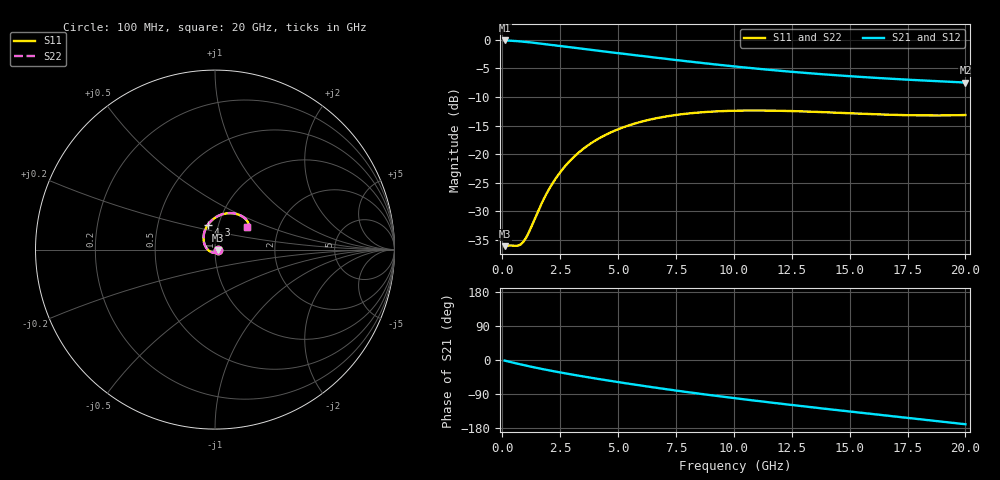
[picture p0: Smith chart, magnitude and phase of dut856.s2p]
! Touchstone file exported from HFSS 2024.1.0
!  File:  C:/UserFiles/LocalFiles/RDL_TSV_Batchsim/temp_RDL_TSV_856_1779923955.aedt
!  Generated:  07:33:23 AM May 28, 2026
!  Design:  RDL_TSV
!  Project:  temp_RDL_TSV_856_1779923955
!  Setup:  Setup1
!  Solution:  Sweep
! Variables:
!  dtsv = 11.52um
!  hbump = 3um
!  htsv = 68um
!  ldown = 630.8um
!  lrdl = 113.82um
!  p = 40
!  p1 = 42.85um
!  rhole = 10um
!  subl = 2347.68um
!  t = 450um
!  tdown = 2.49um
!  trdl = 2.42um
!  viad = 10um
!  wdown = 25.29um
!  wrdl = 14.63um
!  xbump = 18um
# GHz S MA R 50.000000
! Terminal data exported
! Port[1] = TM1_1_T1
! Port[2] = TM1_4_T1
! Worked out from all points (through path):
!   200 points, 100 MHz to 20 GHz, reference 50 ohm
!   highest |S21| = -0.14 dB at 100 MHz (marker M1); lowest = -7.5 dB at 20 GHz (marker M2)
!   group delay of S21, straight-line fit = 22.3 ps
!   lowest |S11| = -36.1 dB at 100 MHz (marker M3), VSWR 1.03, Z = 51.6 - j0.206 ohm
!   |S11| at or under -10 dB: start of sweep to end of sweep
!   |S22| runs from -36.1 to -12.3 dB; largest |S21 - S12| = 1.1e-14
!   S11 on the Smith chart (normalised r, x): 100 MHz: 1.03, -0.00; 4.3 GHz: 0.89, +0.25; 20 GHz: 1.38, +0.37
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0.1  0.01571 -7.3  0.9838 -1.5  0.9838 -1.5  0.01571 -7.3
! Gamma 0 0 0 0
! Port Impedance 50 0 50 0
0.7  0.01594 -70.0  0.9683 -10.3  0.9683 -10.3  0.01593 -70.0
0.9  0.01704 -96.8  0.9604 -13.1  0.9604 -13.1  0.01703 -96.9
1.1  0.01982 -122.3  0.9516 -15.8  0.9516 -15.8  0.01983 -122.4
1.8  0.04082 179.8  0.9159 -24.7  0.9159 -24.7  0.0409 179.7
2.2  0.05682 160.9  0.8946 -29.5  0.8946 -29.5  0.05694 160.8
2.5  0.06946 149.7  0.8788 -32.8  0.8788 -32.8  0.06962 149.7
2.8  0.08224 140.3  0.8634 -36.1  0.8634 -36.1  0.08243 140.3
3.1  0.09491 132.1  0.8484 -39.3  0.8484 -39.3  0.09514 132.1
3.5  0.1113 122.6  0.8291 -43.5  0.8291 -43.5  0.1116 122.6
4.3  0.1417 107.0  0.7924 -51.5  0.7924 -51.5  0.1421 107.0
4.8  0.1586 98.9  0.7705 -56.4  0.7705 -56.4  0.159 98.9
5.4  0.1765 90.3  0.7452 -62.0  0.7452 -62.0  0.177 90.3
6.8  0.2086 74.0  0.6896 -74.6  0.6896 -74.6  0.2092 74.1
8.4  0.2302 60.1  0.6328 -88.0  0.6328 -88.0  0.2309 60.1
10.1  0.2396 49.1  0.5813 -101.2  0.5813 -101.2  0.2404 49.2
11.7  0.2398 41.7  0.5411 -113.0  0.5411 -113.0  0.2407 41.8
13.4  0.2346 36.5  0.5062 -125.0  0.5062 -125.0  0.2355 36.5
15  0.2276 33.7  0.4795 -135.9  0.4795 -135.9  0.2286 33.8
16.7  0.221 32.9  0.4564 -147.4  0.4564 -147.4  0.2219 32.9
18.3  0.2178 33.7  0.4384 -158.1  0.4384 -158.1  0.2188 33.7
20  0.2196 35.5  0.4223 -169.5  0.4223 -169.5  0.2205 35.5
